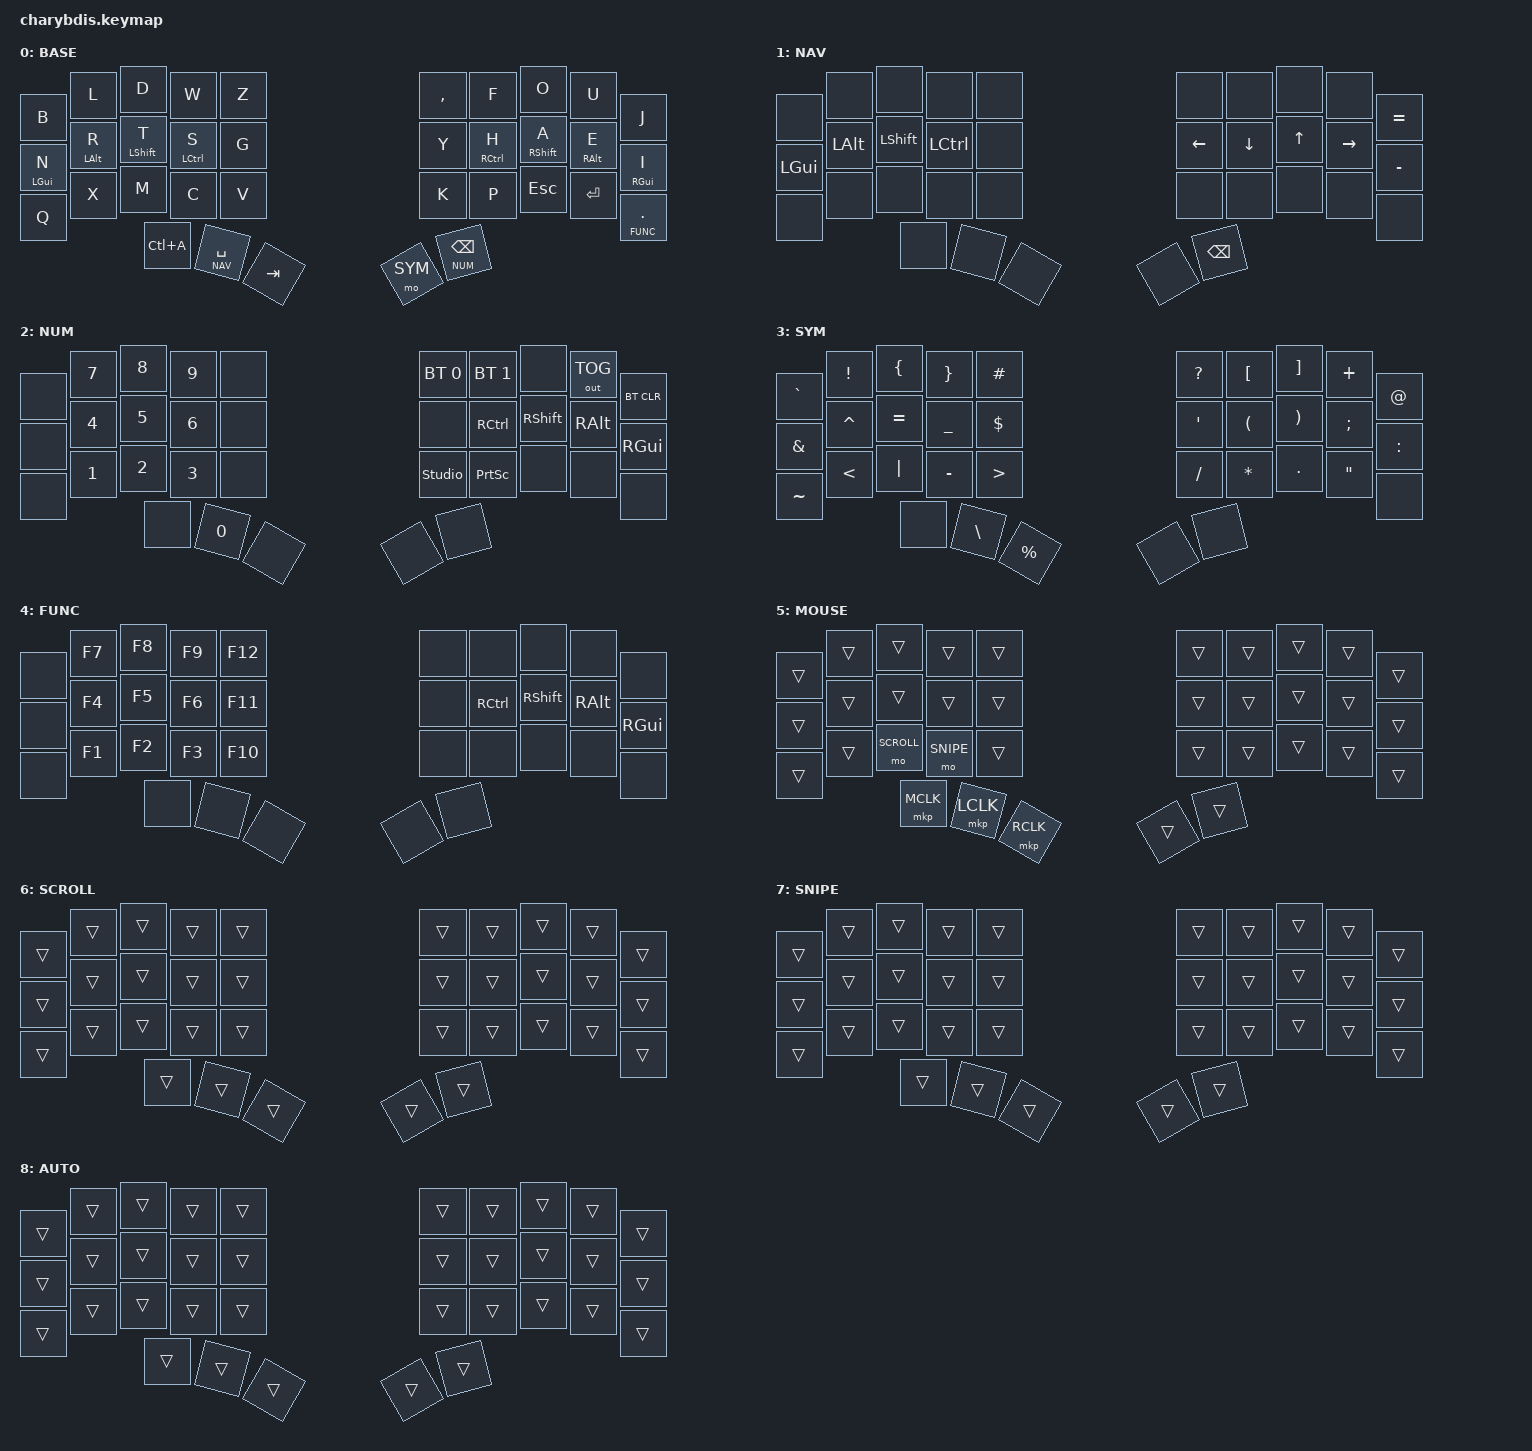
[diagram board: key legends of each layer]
#include <behaviors.dtsi>

#include <dt-bindings/zmk/bt.h>
#include <dt-bindings/zmk/keys.h>

#define ZMK_POINTING_DEFAULT_SCRL_VAL 150
#include <dt-bindings/zmk/pointing.h>

#include <dt-bindings/zmk/ext_power.h>
#include <dt-bindings/zmk/outputs.h>

#include "layers.h"

#include "behaviors.dtsi"
#include "combos.dtsi"

/ {
    keymap {
        compatible = "zmk,keymap";

        BASE {
            display-name = "BASE";
            bindings = <
                &kp B     &kp L     &kp D     &kp W     &kp Z         &kp COMMA     &kp F        &kp O       &kp U        &kp J
                &hm_l LGUI N  &hm_l LALT R  &hm_l LSHFT T  &hm_l LCTRL S  &kp G    &kp Y  &hm_r RCTRL H  &hm_r RSHFT A  &hm_r RALT E  &hm_r RGUI I
                &kp Q     &kp X     &kp M     &kp C     &kp V         &kp K     &kp P        &kp ESC     &kp ENTER    &lt FUNC DOT
                          &kp LC(A) &lt NAV SPACE &kp TAB          &mo SYM   &lt NUM BSPC
            >;
        };

        NAV {
            display-name = "NAV";
            bindings = <
                &none     &none     &none     &none     &none         &none     &none     &none     &none      &kp EQUAL
                &kp LGUI  &kp LALT  &kp LSHFT &kp LCTRL &none         &kp LEFT  &kp DOWN  &kp UP    &kp RIGHT  &kp MINUS
                &none     &none     &none     &none     &none         &none     &none     &none     &none      &none
                          &none     &none     &none                   &none     &kp BSPC
            >;
        };

        NUM {
            display-name = "NUM";
            bindings = <
                &none     &kp N7    &kp N8    &kp N9    &none         &bt BT_SEL 0   &bt BT_SEL 1 &none    &out OUT_TOG &bt BT_CLR
                &none     &kp N4    &kp N5    &kp N6    &none         &none          &kp RCTRL  &kp RSHFT  &kp RALT  &kp RGUI
                &none     &kp N1    &kp N2    &kp N3    &none         &studio_unlock &kp PSCRN  &none      &none     &none
                          &none     &kp N0    &none                   &none     &none
            >;
        };

        SYM {
            display-name = "SYM";
            bindings = <
                &kp GRAVE &kp EXCL  &kp LBRC  &kp RBRC  &kp HASH      &kp QMARK &kp LBKT  &kp RBKT  &kp PLUS   &kp AT
                &kp AMPS  &kp CARET &kp EQUAL &kp UNDER &kp DLLR      &kp APOS  &kp LPAR  &kp RPAR  &kp SEMI   &kp COLON
                &kp TILDE &kp LT    &kp PIPE  &kp MINUS &kp GT        &kp FSLH  &kp STAR  &kp DOT   &kp DQT    &none
                          &none     &kp BSLH  &kp PRCNT               &none     &none
            >;
        };

        FUNC {
            display-name = "FUNC";
            bindings = <
                &none     &kp F7    &kp F8    &kp F9    &kp F12       &none     &none      &none      &none     &none
                &none     &kp F4    &kp F5    &kp F6    &kp F11       &none     &kp RCTRL  &kp RSHFT  &kp RALT  &kp RGUI
                &none     &kp F1    &kp F2    &kp F3    &kp F10       &none     &none      &none      &none     &none
                          &none     &none     &none                   &none     &none
            >;
        };

        MOUSE {
            display-name = "MOUSE";
            bindings = <
			&trans    &trans    &trans     &trans    &trans        &trans    &trans     &trans     &trans    &trans
			&trans    &trans    &trans     &trans    &trans        &trans    &trans     &trans     &trans    &trans
			&trans    &trans    &mo SCROLL &mo SNIPE &trans        &trans    &trans     &trans     &trans    &trans
					  &mkp MCLK &mkp LCLK  &mkp RCLK                &trans    &trans
			>;
        };

        SCROLL {
            display-name = "SCROLL";
            bindings = <
                &trans &trans &trans &trans &trans    &trans &trans &trans &trans &trans
                &trans &trans &trans &trans &trans    &trans &trans &trans &trans &trans
                &trans &trans &trans &trans &trans    &trans &trans &trans &trans &trans
                       &trans &trans &trans           &trans &trans
            >;
        };

        SNIPE {
            display-name = "SNIPE";
            bindings = <
                &trans &trans &trans &trans &trans    &trans &trans &trans &trans &trans
                &trans &trans &trans &trans &trans    &trans &trans &trans &trans &trans
                &trans &trans &trans &trans &trans    &trans &trans &trans &trans &trans
                       &trans &trans &trans           &trans &trans
            >;
        };

        AUTO {
            display-name = "AUTO";
            bindings = <
                &trans &trans &trans &trans &trans    &trans &trans &trans &trans &trans
                &trans &trans &trans &trans &trans    &trans &trans &trans &trans &trans
                &trans &trans &trans &trans &trans    &trans &trans &trans &trans &trans
                       &trans &trans &trans           &trans &trans
            >;
        };
    };
};
